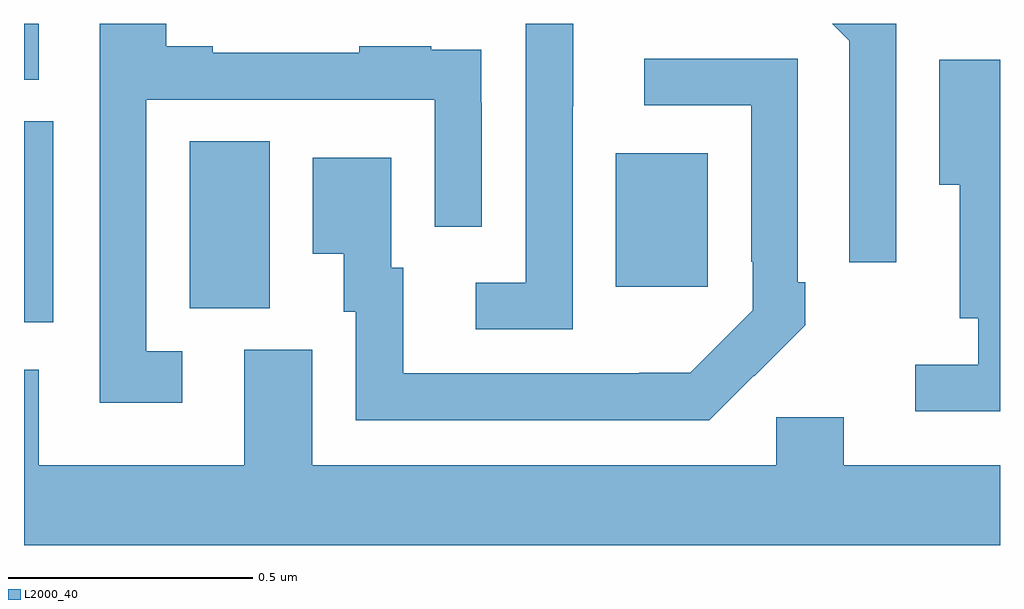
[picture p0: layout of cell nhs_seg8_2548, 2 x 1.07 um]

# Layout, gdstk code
import gdstk
lib = gdstk.Library(unit=1e-6, precision=1e-09)
def R(c, l, rs):  # rectangles x0, y0, x1, y1
    for r in rs: c.add(gdstk.rectangle(r[:2], r[2:], *l))
def P(c, l, *ps):  # polygons
    for p in ps: c.add(gdstk.Polygon(p, *l))
L2000_40 = (2000, 40)

nhs_seg8_2548 = lib.new_cell('nhs_seg8_2548')
R(nhs_seg8_2548, L2000_40, [(145,1118.289,145.06,1118.701), (145.34,1118.317,145.504,1118.66), (146.213,1118.361,146.401,1118.635), (145,1118.786,145.03,1118.9)])
P(nhs_seg8_2548, L2000_40, [(145.324,1118.229),(145.251,1118.229),(145.251,1118.745),(145.842,1118.745),(145.842,1118.484),(145.938,1118.484),(145.938,1118.738),(145.937,1118.738),(145.937,1118.847),(145.835,1118.847),(145.835,1118.854),(145.687,1118.854),(145.687,1118.841),(145.387,1118.841),(145.387,1118.854),(145.291,1118.854),(145.291,1118.9),(145.155,1118.9),(145.155,1118.124),(145.324,1118.124)],
  [(146.124,1118.731),(146.125,1118.731),(146.125,1118.9),(146.028,1118.9),(146.028,1118.37),(145.926,1118.37),(145.926,1118.274),(146.124,1118.274)],
  [(146.787,1118.9),(146.656,1118.9),(146.691,1118.865),(146.691,1118.412),(146.787,1118.412)],
  [(146.495,1118.179),(146.496,1118.178),(146.601,1118.283),(146.601,1118.371),(146.586,1118.371),(146.586,1118.829),(146.271,1118.829),(146.271,1118.733),(146.49,1118.733),(146.49,1118.413),(146.493,1118.413),(146.493,1118.313),(146.365,1118.185),(146.261,1118.185),(146.261,1118.184),(145.777,1118.184),(145.777,1118.4),(145.753,1118.4),(145.753,1118.626),(145.592,1118.626),(145.592,1118.429),(145.655,1118.429),(145.655,1118.31),(145.68,1118.31),(145.68,1118.088),(146.404,1118.088)],
  [(147,1118.827),(146.876,1118.827),(146.876,1118.57),(146.918,1118.57),(146.918,1118.297),(146.955,1118.297),(146.955,1118.202),(146.826,1118.202),(146.826,1118.106),(147,1118.106)],
  [(147,1117.996),(146.68,1117.996),(146.68,1118.094),(146.541,1118.094),(146.541,1117.996),(145.591,1117.996),(145.591,1118.232),(145.451,1118.232),(145.451,1117.996),(145.03,1117.996),(145.03,1118.191),(145,1118.191),(145,1117.832),(147,1117.832)])

lib.write_gds('nhs_seg8_2548.gds')
